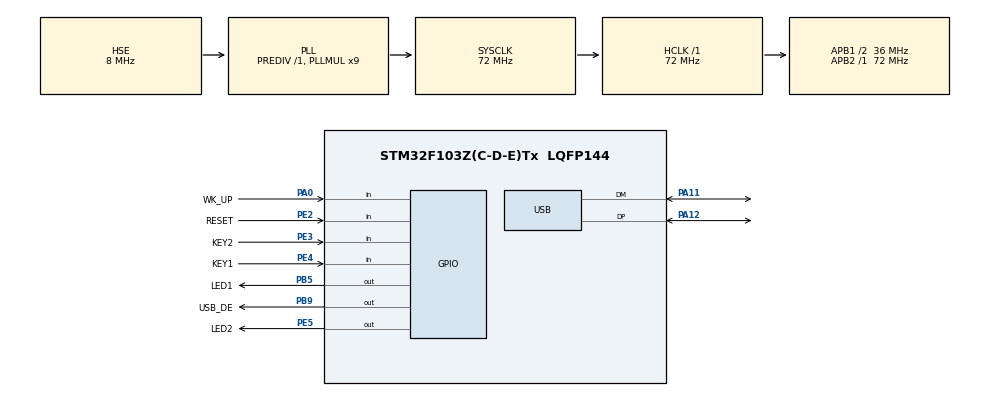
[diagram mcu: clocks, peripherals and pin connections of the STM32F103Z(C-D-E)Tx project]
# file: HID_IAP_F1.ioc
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Mcu.Family=STM32F1
Mcu.Name=STM32F103Z(C-D-E)Tx
Mcu.Package=LQFP144
NVIC.PriorityGroup=NVIC_PRIORITYGROUP_4
NVIC.USB_LP_CAN1_RX0_IRQn=true\:0\:0\:false\:false\:true\:false\:true
OSC_IN.Mode=HSE-External-Oscillator
OSC_IN.Signal=RCC_OSC_IN
OSC_OUT.Mode=HSE-External-Oscillator
OSC_OUT.Signal=RCC_OSC_OUT
PA0-WKUP.GPIO_Label=WK_UP
PA0-WKUP.GPIO_PuPd=GPIO_PULLDOWN
PA0-WKUP.Signal=GPIO_Input
PA11.Mode=Device
PA11.Signal=USB_DM
PA12.Mode=Device
PA12.Signal=USB_DP
PA13.Mode=Trace_Asynchronous_SW
PA13.Signal=SYS_JTMS-SWDIO
PA14.Mode=Trace_Asynchronous_SW
PA14.Signal=SYS_JTCK-SWCLK
PB3.Mode=Trace_Asynchronous_SW
PB3.Signal=SYS_JTDO-TRACESWO
PB5.GPIO_Label=LED1
PB5.GPIO_PuPd=GPIO_PULLUP
PB5.GPIO_Speed=GPIO_SPEED_FREQ_HIGH
PB5.PinState=GPIO_PIN_SET
PB5.Signal=GPIO_Output
PB9.GPIO_Label=USB_DE
PB9.GPIO_ModeDefaultOutputPP=GPIO_MODE_OUTPUT_PP
PB9.GPIO_PuPd=GPIO_PULLUP
PB9.GPIO_Speed=GPIO_SPEED_FREQ_HIGH
PB9.PinState=GPIO_PIN_SET
PB9.Signal=GPIO_Output
PE2.GPIO_Label=RESET
PE2.GPIO_PuPd=GPIO_PULLUP
PE2.Signal=GPIO_Input
PE3.GPIO_Label=KEY2
PE3.GPIO_PuPd=GPIO_PULLUP
PE3.Signal=GPIO_Input
PE4.GPIO_Label=KEY1
PE4.GPIO_PuPd=GPIO_PULLUP
PE4.Signal=GPIO_Input
PE5.GPIO_Label=LED2
PE5.GPIO_PuPd=GPIO_PULLUP
PE5.GPIO_Speed=GPIO_SPEED_FREQ_HIGH
PE5.PinState=GPIO_PIN_SET
PE5.Signal=GPIO_Output
ProjectManager.HeapSize=0x200
ProjectManager.StackSize=0x400
ProjectManager.TargetToolchain=MDK-ARM V5
RCC.AHBFreq_Value=72000000
RCC.APB1CLKDivider=RCC_HCLK_DIV2
RCC.APB1Freq_Value=36000000
RCC.APB1TimFreq_Value=72000000
RCC.APB2Freq_Value=72000000
RCC.APB2TimFreq_Value=72000000
RCC.HCLKFreq_Value=72000000
RCC.PLLMUL=RCC_PLL_MUL9
RCC.PLLSourceVirtual=RCC_PLLSOURCE_HSE
RCC.SYSCLKFreq_VALUE=72000000
RCC.SYSCLKSource=RCC_SYSCLKSOURCE_PLLCLK
RCC.USBFreq_Value=48000000
RCC.USBPrescaler=RCC_USBCLKSOURCE_PLL_DIV1_5
USB_DEVICE.CLASS_NAME_FS=CUSTOM_HID
USB_DEVICE.PID_CUSTOMHID_FS=0x666
USB_DEVICE.PRODUCT_STRING_CUSTOMHID_FS=HID_IAP_DEV
USB_DEVICE.USBD_CUSTOMHID_OUTREPORT_BUF_SIZE=64
USB_DEVICE.USBD_CUSTOM_HID_REPORT_DESC_SIZE=34
USB_DEVICE.VID=0x483
USB_DEVICE.VirtualMode=CustomHid
USB_DEVICE.VirtualModeFS=Custom_Hid_FS
VP_USB_DEVICE_VS_USB_DEVICE_CUSTOM_HID_FS.Mode=CUSTOM_HID_FS
board=custom

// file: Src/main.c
/* USER CODE BEGIN Header */
/**
  ******************************************************************************
  * @file           : main.c
  * @brief          : Main program body
  ******************************************************************************
  * @attention
  *
  * <h2><center>&copy; Copyright (c) 2019 STMicroelectronics.
  * All rights reserved.</center></h2>
  *
  * This software component is licensed by ST under BSD 3-Clause license,
  * the "License"; You may not use this file except in compliance with the
  * License. You may obtain a copy of the License at:
  *                        opensource.org/licenses/BSD-3-Clause
  *
  ******************************************************************************
  */
/* USER CODE END Header */

#include "main.h"
#include "usb_device.h"
#include "gpio.h"

/* USER CODE BEGIN Includes */

#include "delay.h"
#include "usbd_custom_hid_if.h"
#include "protocol.h"
#include "iap.h"

/* USER CODE END Includes */

/* USER CODE BEGIN PV */

static FUN_HAND_STU FunHand[] =
{
  { 0x01, FunTransReady },    // 准备开始数据传输
  { 0x02, FunTransEnd },      // 数据传输完成
  { 0x10, FunBlockStart },    // 启动数据块传输
  { 0x11, FunBlockFinish },   // 数据块传输结束
  { 0x20, FunFrameData },     // 帧传输
  { 0x80, FunControl }        // 控制命令
};

/* USER CODE END PV */

void SystemClock_Config(void);

int main(void)
{
  /* USER CODE BEGIN 1 */

  uint8_t loop = 0;
  uint32_t delay_cnt = 0;

  /* USER CODE END 1 */

  /* MCU Configuration--------------------------------------------------------*/

  /* Reset of all peripherals, Initializes the Flash interface and the Systick. */
  HAL_Init();

  /* Configure the system clock */
  SystemClock_Config();

  /* Initialize all configured peripherals */
  MX_GPIO_Init();
  /* USER CODE BEGIN 2 */

  DelayInit();

  if(KEY_NONE == getKeyValue(KEY_MODE_HOLD))
  {
    //执行FLASH APP代码
    if(((*(vu32 *)(FLASH_APP_ADDR+4))&0xFF000000)==0x08000000)//判断是否为0X08XXXXXX.
    {
      iapLoadApp(FLASH_APP_ADDR);
    }
    else
    {
      // 指示灯变换频率地双闪
      while(1)
      {
        if(500 < delay_cnt)  delay_cnt = 0;

        delay_cnt += (delay_cnt>>4) + 1;

        LED1_ON;
        LED2_OFF;
        setDelayUs(delay_cnt*delay_cnt);
        LED1_OFF;
        LED2_ON;
        setDelayUs(delay_cnt*delay_cnt);
      }
    }
  }
  else
  {
    USB_DE_ON; // 启用USB设备
    MX_USB_DEVICE_Init();
    memset(&RcvUSB, 0x00, sizeof(USB_RCV_STU));
    memset(&SndUSB, 0x00, sizeof(USB_SND_STU));
  }

  /* USER CODE END 2 */

  /* Infinite loop */
  /* USER CODE BEGIN WHILE */
  while (1)
  {
    if(0 == (delay_cnt%40000))
    {
      LED1_OFF;
    }

    if(0 == (delay_cnt%80000))
    {
      LED1_ON;
    }
    delay_cnt++;

    /* USER CODE END WHILE */

    /* USER CODE BEGIN 3 */

    if(TRUE_t == RcvUSB.hasData)
    {
      RcvUSB.hasData = FALSE_t; // 每帧数据仅解析一次

      LED2_ON;

      // 解析命令码，并执行处理函数
      for(loop=0; loop<numof(FunHand); loop++)
      {
        if(RcvUSB.buf[0] == FunHand[loop].cmdCode) // 命令码匹配
        {
          FunHand[loop].fun(); // 命令处理函数

          if(TRUE_t == SndUSB.hasData)
          {
            SndUSB.hasData = FALSE_t; // 只用发送一次数据

            USBD_CUSTOM_HID_SendReport(&hUsbDeviceFS, SndUSB.buf, sizeof(SndUSB.buf));
            memset(SndUSB.buf, 0x00, sizeof(SndUSB.buf));
          }
          break; // 命令解析完成，退出循环
        }
      }

      memset(RcvUSB.buf, 0x00, sizeof(RcvUSB.buf)); // 接收数据处理完成，缓存清空

      LED2_OFF;
    }

  }
  /* USER CODE END 3 */
}

void SystemClock_Config(void)
{
  RCC_OscInitTypeDef RCC_OscInitStruct = {0};
  RCC_ClkInitTypeDef RCC_ClkInitStruct = {0};
  RCC_PeriphCLKInitTypeDef PeriphClkInit = {0};

  /** Initializes the CPU, AHB and APB busses clocks
  */
  RCC_OscInitStruct.OscillatorType = RCC_OSCILLATORTYPE_HSE;
  RCC_OscInitStruct.HSEState = RCC_HSE_ON;
  RCC_OscInitStruct.HSEPredivValue = RCC_HSE_PREDIV_DIV1;
  RCC_OscInitStruct.HSIState = RCC_HSI_ON;
  RCC_OscInitStruct.PLL.PLLState = RCC_PLL_ON;
  RCC_OscInitStruct.PLL.PLLSource = RCC_PLLSOURCE_HSE;
  RCC_OscInitStruct.PLL.PLLMUL = RCC_PLL_MUL9;
  if (HAL_RCC_OscConfig(&RCC_OscInitStruct) != HAL_OK)
  {
    Error_Handler();
  }
  /** Initializes the CPU, AHB and APB busses clocks
  */
  RCC_ClkInitStruct.ClockType = RCC_CLOCKTYPE_HCLK|RCC_CLOCKTYPE_SYSCLK
                              |RCC_CLOCKTYPE_PCLK1|RCC_CLOCKTYPE_PCLK2;
  RCC_ClkInitStruct.SYSCLKSource = RCC_SYSCLKSOURCE_PLLCLK;
  RCC_ClkInitStruct.AHBCLKDivider = RCC_SYSCLK_DIV1;
  RCC_ClkInitStruct.APB1CLKDivider = RCC_HCLK_DIV2;
  RCC_ClkInitStruct.APB2CLKDivider = RCC_HCLK_DIV1;

  if (HAL_RCC_ClockConfig(&RCC_ClkInitStruct, FLASH_LATENCY_2) != HAL_OK)
  {
    Error_Handler();
  }
  PeriphClkInit.PeriphClockSelection = RCC_PERIPHCLK_USB;
  PeriphClkInit.UsbClockSelection = RCC_USBCLKSOURCE_PLL_DIV1_5;
  if (HAL_RCCEx_PeriphCLKConfig(&PeriphClkInit) != HAL_OK)
  {
    Error_Handler();
  }
}

void Error_Handler(void)
{
}

/************************ (C) COPYRIGHT STMicroelectronics *****END OF FILE****/
